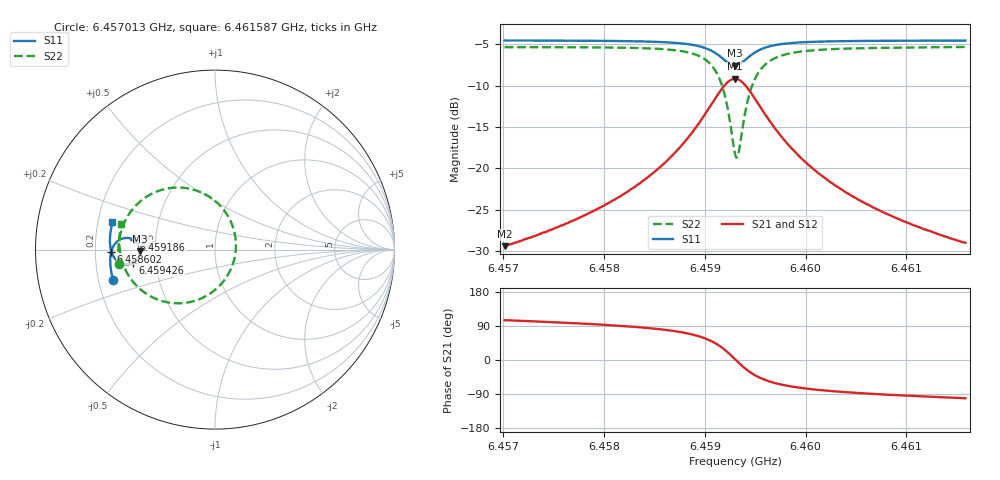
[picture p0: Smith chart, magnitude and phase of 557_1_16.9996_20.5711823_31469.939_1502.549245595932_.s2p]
#  HZ  S  RI  R  50.00
! Rohde & Schwarz Vector Network Analyzer
! Rohde-Schwarz,ZNB20-2Port,1311601062101988,3.16
! Created: UTC 3/20/2024, 11:17:02 PM
! freq[Hz]  re:S11  im:S11  re:S21  im:S21  re:S12  im:S12  re:S22  im:S22
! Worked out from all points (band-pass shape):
!   401 points, 6.457013 GHz to 6.461587 GHz, reference 50 ohm
!   highest |S21| = -9.18 dB at 6.4593 GHz (marker M1); lowest = -29.4 dB at 6.457013 GHz (marker M2)
!   |S21| within 3 dB of the highest: 6.459071 GHz to 6.459529 GHz (457.9 kHz wide, 0.00709 % of centre)
!   lowest |S11| = -7.6 dB at 6.4593 GHz (marker M3), VSWR 2.43, Z = 20.6 - j0.444 ohm
!   |S11| at or under -10 dB: nowhere
!   |S22| runs from -18.7 to -5.3 dB; largest |S21 - S12| = 0.014
!   S11 on the Smith chart (normalised r, x): 6.457013 GHz: 0.26, -0.14; 6.458602 GHz: 0.27, -0.01; 6.459186 GHz: 0.37, +0.05; 6.459426 GHz: 0.37, -0.07; 6.461587 GHz: 0.26, +0.12
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6.4570126e9  -0.5674 -0.1695  -0.00881 0.0327  -0.00709 0.0326  -0.5335 -0.0815
6.4577789e9  -0.5811 -0.1024  -0.0054 0.0507  -0.00296 0.0501  -0.5382 0.00865
6.4581792e9  -0.5838 -0.0623  8.8e-05 0.0689  0.00339 0.0676  -0.5305 0.0719
6.4585452e9  -0.5799 -0.0186  0.0147 0.0993  0.0187 0.0965  -0.5037 0.1539
6.4586024e9  -0.578 -0.0108  0.019 0.1061  0.0233 0.103  -0.4955 0.1704
6.4588082e9  -0.5647 0.0213  0.0469 0.1387  0.051 0.1337  -0.4432 0.2433
6.4589569e9  -0.542 0.0475  0.0927 0.1692  0.0957 0.1625  -0.359 0.3078
6.4590942e9  -0.4979 0.0649  0.1803 0.1855  0.1811 0.178  -0.1985 0.3458
6.4591857e9  -0.4531 0.0544  0.2705 0.1538  0.2708 0.1478  -0.0311 0.2945
6.4592543e9  -0.424 0.0222  0.331 0.0814  0.3332 0.0761  0.0847 0.1637
6.4593e9  -0.4172 -0.00892  0.3474 0.013  0.3511 0.00605  0.1166 0.0357
6.4593115e9  -0.4177 -0.0171  0.3471 -0.00473  0.351 -0.0124  0.1161 0.00182
6.4593343e9  -0.4212 -0.0328  0.3413 -0.0397  0.3454 -0.0488  0.1047 -0.0643
6.4593801e9  -0.4369 -0.0589  0.3125 -0.0998  0.3147 -0.1117  0.0463 -0.1782
6.4594258e9  -0.459 -0.0753  0.2701 -0.1409  0.2692 -0.1542  -0.0398 -0.2531
6.4595173e9  -0.5025 -0.0823  0.1848 -0.1719  0.1786 -0.1837  -0.2099 -0.2992
6.459666e9  -0.5466 -0.0617  0.0963 -0.1579  0.0878 -0.1641  -0.3786 -0.2488
6.4598262e9  -0.5683 -0.0338  0.0514 -0.1296  0.0436 -0.1324  -0.4594 -0.1759
6.4600663e9  -0.5811 0.00165  0.0221 -0.0978  0.0163 -0.0984  -0.5075 -0.093
6.4604323e9  -0.5856 0.0451  0.00552 -0.0695  0.00142 -0.069  -0.5293 -0.00908
6.4608326e9  -0.5835 0.0852  -0.00158 -0.0522  -0.0044 -0.0513  -0.5329 0.0549
6.4615875e9  -0.5714 0.1522  -0.0067 -0.0348  -0.00833 -0.0339  -0.5213 0.1445
